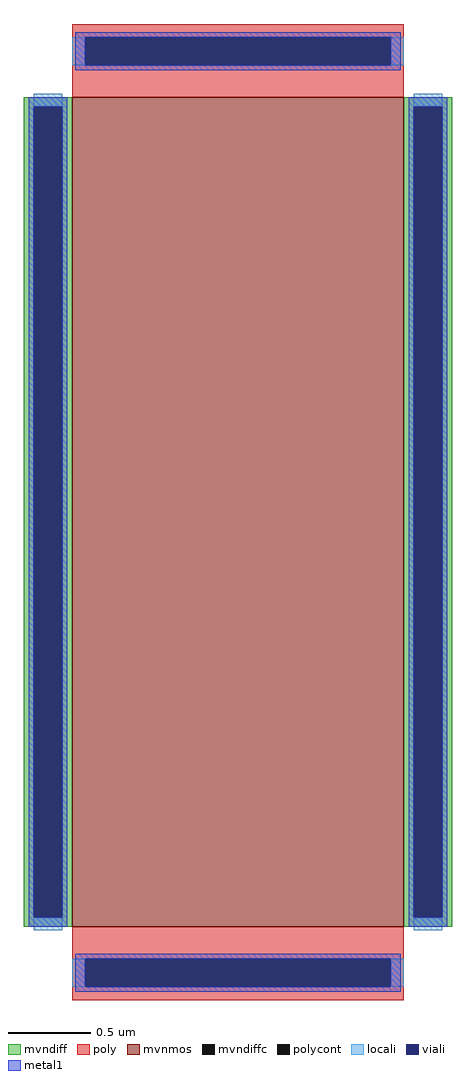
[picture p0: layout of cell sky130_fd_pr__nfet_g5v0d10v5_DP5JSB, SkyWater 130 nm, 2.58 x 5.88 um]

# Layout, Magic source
magic
tech sky130A
<< mvnmos >>
rect -100 -250 100 250
<< mvndiff >>
rect -129 244 -100 250
rect -129 -244 -123 244
rect -106 -244 -100 244
rect -129 -250 -100 -244
rect 100 244 129 250
rect 100 -244 106 244
rect 123 -244 129 244
rect 100 -250 129 -244
<< mvndiffc >>
rect -123 -244 -106 244
rect 106 -244 123 244
<< poly >>
rect -100 286 100 294
rect -100 269 -92 286
rect 92 269 100 286
rect -100 250 100 269
rect -100 -269 100 -250
rect -100 -286 -92 -269
rect 92 -286 100 -269
rect -100 -294 100 -286
<< polycont >>
rect -92 269 92 286
rect -92 -286 92 -269
<< locali >>
rect -100 269 -92 286
rect 92 269 100 286
rect -123 244 -106 252
rect -123 -252 -106 -244
rect 106 244 123 252
rect 106 -252 123 -244
rect -100 -286 -92 -269
rect 92 -286 100 -269
<< viali >>
rect -92 269 92 286
rect -123 -244 -106 244
rect 106 -244 123 244
rect -92 -286 92 -269
<< metal1 >>
rect -98 286 98 289
rect -98 269 -92 286
rect 92 269 98 286
rect -98 266 98 269
rect -126 244 -103 250
rect -126 -244 -123 244
rect -106 -244 -103 244
rect -126 -250 -103 -244
rect 103 244 126 250
rect 103 -244 106 244
rect 123 -244 126 244
rect 103 -250 126 -244
rect -98 -269 98 -266
rect -98 -286 -92 -269
rect 92 -286 98 -269
rect -98 -289 98 -286
<< properties >>
string gencell sky130_fd_pr__nfet_g5v0d10v5
string library sky130
string parameters w 5 l 2 m 1 nf 1 diffcov 100 polycov 100 guard 0 glc 0 grc 0 gtc 0 gbc 0 tbcov 100 rlcov 100 topc 1 botc 1 poverlap 0 doverlap 1 lmin 0.50 wmin 0.42 compatible {sky130_fd_pr__nfet_01v8 sky130_fd_pr__nfet_01v8_lvt  sky130_fd_bs_flash__special_sonosfet_star  sky130_fd_pr__nfet_g5v0d10v5 sky130_fd_pr__nfet_05v0_nvt  sky130_fd_pr__nfet_03v3_nvt} full_metal 0 viasrc 100 viadrn 100 viagate 100 viagb 0 viagr 0 viagl 0 viagt 0
<< end >>
